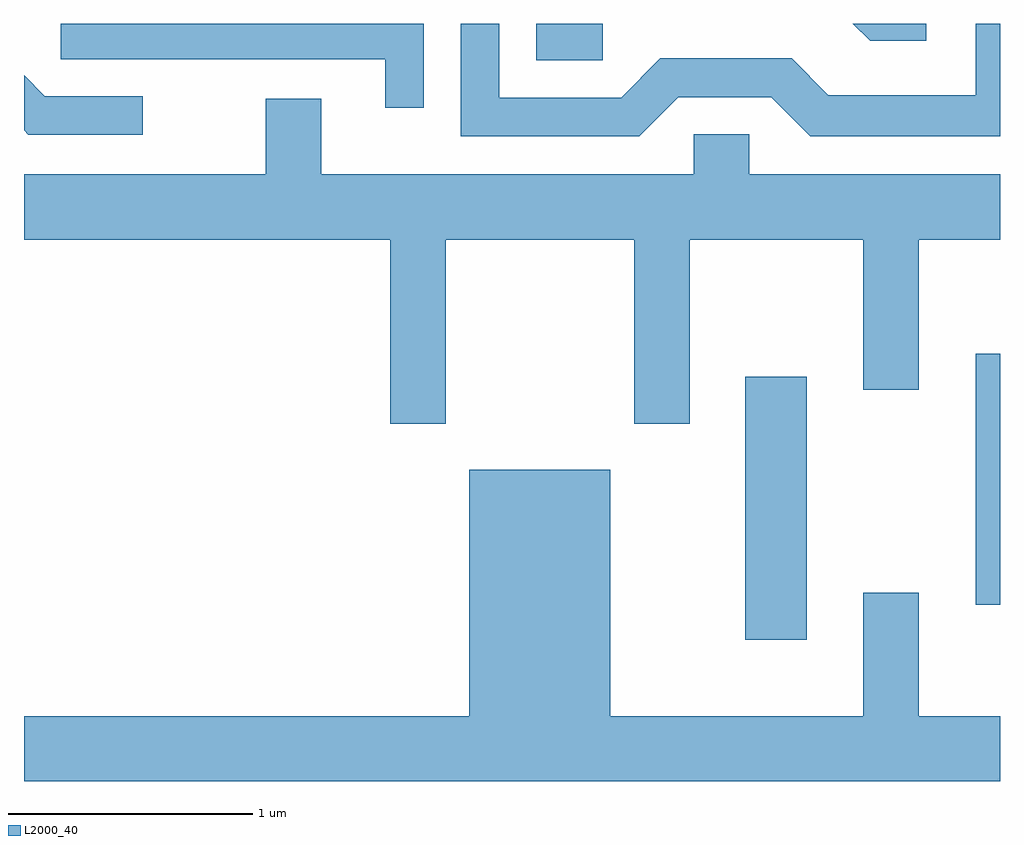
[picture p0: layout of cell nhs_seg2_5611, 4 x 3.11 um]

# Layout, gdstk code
import gdstk
lib = gdstk.Library(unit=1e-6, precision=1e-09)
def R(c, l, rs):  # rectangles x0, y0, x1, y1
    for r in rs: c.add(gdstk.rectangle(r[:2], r[2:], *l))
def P(c, l, *ps):  # polygons
    for p in ps: c.add(gdstk.Polygon(p, *l))
L2000_40 = (2000, 40)

nhs_seg2_5611 = lib.new_cell('nhs_seg2_5611')
R(nhs_seg2_5611, L2000_40, [(352.566,1113.276,352.819,1114.354), (353.511,1113.421,353.611,1114.449), (351.711,1115.651,351.983,1115.802)])
P(nhs_seg2_5611, L2000_40, [(353.308,1115.802),(353.008,1115.802),(353.079,1115.731),(353.308,1115.731)],
  [(352.292,1115.501),(352.674,1115.501),(352.834,1115.341),(353.611,1115.341),(353.611,1115.802),(353.511,1115.802),(353.511,1115.509),(352.907,1115.509),(352.757,1115.659),(352.219,1115.659),(352.059,1115.499),(351.559,1115.499),(351.559,1115.802),(351.401,1115.802),(351.401,1115.341),(352.132,1115.341)],
  [(351.249,1115.802),(349.761,1115.802),(349.761,1115.656),(351.091,1115.656),(351.091,1115.458),(351.249,1115.458)],
  [(350.098,1115.504),(349.697,1115.504),(349.611,1115.59),(349.611,1115.364),(349.629,1115.346),(350.098,1115.346)],
  [(351.339,1114.916),(352.111,1114.916),(352.111,1114.161),(352.339,1114.161),(352.339,1114.916),(353.051,1114.916),(353.051,1114.301),(353.279,1114.301),(353.279,1114.916),(353.611,1114.916),(353.611,1115.184),(352.584,1115.184),(352.584,1115.349),(352.356,1115.349),(352.356,1115.184),(350.829,1115.184),(350.829,1115.494),(350.601,1115.494),(350.601,1115.184),(349.611,1115.184),(349.611,1114.916),(351.111,1114.916),(351.111,1114.161),(351.339,1114.161)],
  [(353.611,1112.964),(353.279,1112.964),(353.279,1113.469),(353.051,1113.469),(353.051,1112.964),(352.014,1112.964),(352.014,1113.974),(351.436,1113.974),(351.436,1112.964),(349.611,1112.964),(349.611,1112.696),(353.611,1112.696)])

lib.write_gds('nhs_seg2_5611.gds')
